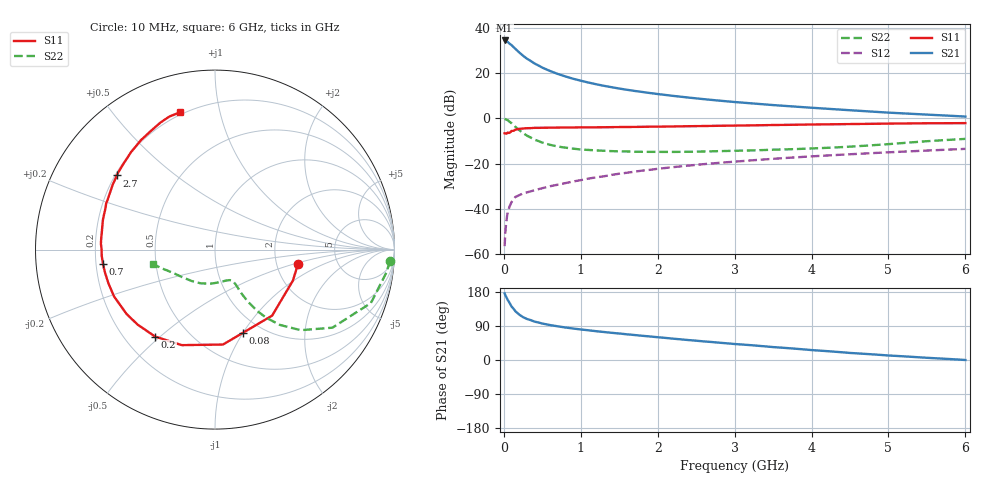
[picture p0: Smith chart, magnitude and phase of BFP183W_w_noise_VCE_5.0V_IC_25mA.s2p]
! Infineon Technologies  Discrete & RF Semiconductors
! BFP183W
! VCE =  5.0 V,  IC =  25 mA
! Common Emitter S-Parameters:  Jan 2017
# GHz  S  MA  R  50
!  f  S11  S21  S12  S22
! GHz  MAG  ANG  MAG  ANG  MAG  ANG  MAG  ANG
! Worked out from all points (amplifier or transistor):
!   77 points, 10 MHz to 6 GHz, reference 50 ohm
!   highest |S21| = 34.5 dB at 10 MHz (marker M1)
!   |S21| within 3 dB of that: start of sweep to 128.3 MHz
!   unconditionally stable (mu >= 1): 1.074 GHz to 3.465 GHz
!   at 130 MHz: K = 0.27, MSG = 33.5 dB, |S12| = -35.5 dB
!   at 2.2 GHz: K = 1.06, MAG = 14.3 dB, |S12| = -21.5 dB
!   at 6 GHz: K = 0.87, MSG = 7.1 dB, |S12| = -13.4 dB
!   lowest NFmin = 1.29 dB at 450 MHz
!   S11 on the Smith chart (normalised r, x): 10 MHz: 2.65, -0.53; 80 MHz: 0.82, -1.00; 200 MHz: 0.33, -0.48; 700 MHz: 0.23, -0.06; 2.7 GHz: 0.21, +0.32; 6 GHz: 0.19, +0.76
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0.01  0.4696 -9.5  53.13 175.9  0.0015 92.3  0.9774 -3.7
0.02  0.4672 -21.7  52.33 170.9  0.0031 85.6  0.963 -7.7
0.05  0.4864 -49.1  49.27 158.5  0.0084 71.8  0.9182 -18.9
0.08  0.4893 -71.7  44.36 148.7  0.0119 65.8  0.832 -27.2
0.1  0.5308 -85.2  41.93 141.1  0.0142 63.5  0.7858 -33.6
0.15  0.5637 -109.2  34.69 128.7  0.0184 52.6  0.6544 -43.3
0.2  0.5881 -124.5  28.84 119.8  0.0201 50.1  0.5532 -49.3
0.25  0.6005 -135.9  24.44 113.1  0.022 47.5  0.476 -53.0
0.3  0.6094 -144.0  21.02 108.3  0.0232 46.2  0.4174 -55.4
0.4  0.6202 -155.1  16.41 101.2  0.0259 47.6  0.3401 -57.8
0.5  0.6229 -162.7  13.32 96.2  0.0287 49.4  0.293 -58.7
0.6  0.6263 -168.4  11.24 92.2  0.0317 51.1  0.2617 -59.1
0.7  0.6291 -172.9  9.678 88.9  0.0343 53.4  0.24 -59.1
0.9  0.632 179.9  7.566 83.1  0.0404 56.0  0.2153 -59.8
1.1  0.6372 174.3  6.231 78.4  0.0468 58.2  0.2015 -60.8
1.5  0.6463 165.0  4.589 69.9  0.0601 60.3  0.1874 -65.3
2.1  0.6626 153.1  3.314 58.3  0.0804 60.0  0.1821 -77.1
2.7  0.6851 142.9  2.576 47.5  0.1011 57.8  0.1877 -92.6
3.1  0.6993 136.7  2.242 40.8  0.1143 55.9  0.1945 -103.1
4.1  0.7389 122.9  1.684 24.8  0.1485 50.5  0.2207 -129.2
5.1  0.7728 112.3  1.32 10.8  0.1818 44.3  0.279 -153.9
6  0.7892 104.5  1.103 0.0  0.2127 38.3  0.354 -166.6
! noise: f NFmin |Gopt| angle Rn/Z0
0.45  1.29  0.25  177  0.1
0.9  1.32  0.28  180  0.09
1.9  1.8  0.43  -158  0.09
2.4  2.04  0.48  -154  0.13
